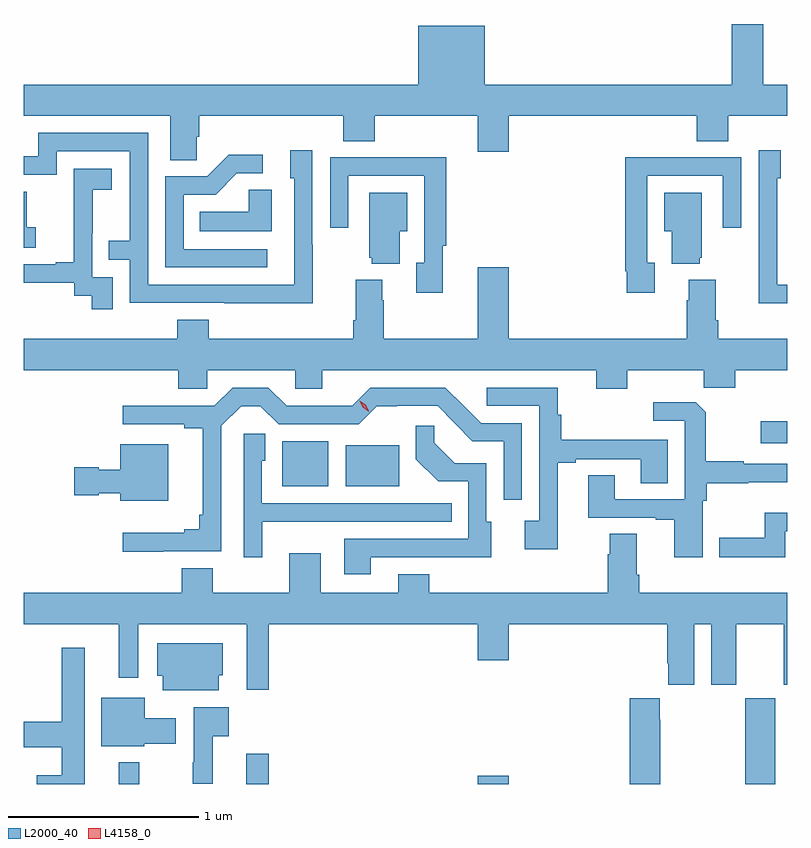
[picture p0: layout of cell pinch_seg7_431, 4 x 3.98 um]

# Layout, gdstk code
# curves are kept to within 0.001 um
import gdstk
lib = gdstk.Library(unit=1e-6, precision=1e-09)
def R(c, l, rs):  # rectangles x0, y0, x1, y1
    for r in rs: c.add(gdstk.rectangle(r[:2], r[2:], *l))
def P(c, l, *ps):  # polygons
    for p in ps: c.add(gdstk.Polygon(p, *l))
L2000_40 = (2000, 40)
L4158_0 = (4158, 0)

pinch_seg7_431 = lib.new_cell('pinch_seg7_431')
R(pinch_seg7_431, L2000_40, [(283.007,1066.379,283.114,1066.492), (283.676,1066.379,283.793,1066.537), (284.888,1066.379,285.052,1066.423), (286.291,1066.379,286.446,1066.828), (283.865,1067.939,284.104,1068.175), (284.198,1067.939,284.476,1068.154), (286.371,1068.165,286.51,1068.28)])
P(pinch_seg7_431, L2000_40, [(283.416,1069.771),(283.43,1069.771),(283.43,1069.88),(284.183,1069.88),(284.183,1069.747),(284.348,1069.747),(284.348,1069.88),(284.888,1069.88),(284.888,1069.692),(285.052,1069.692),(285.052,1069.88),(286.037,1069.88),(286.037,1069.747),(286.202,1069.747),(286.202,1069.88),(286.51,1069.88),(286.51,1070.044),(286.384,1070.044),(286.384,1070.361),(286.22,1070.361),(286.22,1070.044),(284.926,1070.044),(284.926,1070.353),(284.576,1070.353),(284.576,1070.044),(282.51,1070.044),(282.51,1069.88),(283.277,1069.88),(283.277,1069.648),(283.416,1069.648)],
  [(284.025,1069.205),(284.022,1069.205),(284.022,1069.699),(283.907,1069.699),(283.907,1069.554),(283.926,1069.554),(283.926,1068.996),(283.161,1068.996),(283.161,1069.791),(282.587,1069.791),(282.587,1069.668),(282.51,1069.668),(282.51,1069.572),(282.684,1069.572),(282.684,1069.695),(283.065,1069.695),(283.065,1069.226),(282.955,1069.226),(282.955,1069.125),(283.065,1069.125),(283.065,1068.9),(283.561,1068.9),(283.561,1068.899),(284.025,1068.899)],
  [(286.51,1068.996),(286.459,1068.996),(286.459,1069.22),(286.458,1069.22),(286.458,1069.554),(286.477,1069.554),(286.477,1069.699),(286.362,1069.699),(286.362,1069.205),(286.36,1069.205),(286.36,1068.899),(286.51,1068.899)],
  [(283.786,1069.182),(283.347,1069.182),(283.347,1069.467),(283.516,1069.467),(283.627,1069.578),(283.762,1069.578),(283.762,1069.676),(283.583,1069.676),(283.47,1069.563),(283.251,1069.563),(283.251,1069.086),(283.786,1069.086)],
  [(285.817,1069.11),(285.777,1069.11),(285.777,1069.566),(286.173,1069.566),(286.173,1069.293),(286.269,1069.293),(286.269,1069.662),(285.953,1069.662),(285.953,1069.664),(285.661,1069.664),(285.661,1069.066),(285.669,1069.066),(285.669,1068.954),(285.817,1068.954)],
  [(284.705,1069.198),(284.723,1069.198),(284.723,1069.664),(284.431,1069.664),(284.431,1069.662),(284.115,1069.662),(284.115,1069.293),(284.211,1069.293),(284.211,1069.566),(284.607,1069.566),(284.607,1069.11),(284.567,1069.11),(284.567,1068.954),(284.705,1068.954)],
  [(282.975,1069.035),(282.87,1069.035),(282.87,1069.265),(282.872,1069.265),(282.872,1069.493),(282.97,1069.493),(282.97,1069.603),(282.772,1069.603),(282.772,1069.397),(282.773,1069.397),(282.773,1069.114),(282.677,1069.114),(282.677,1069.101),(282.51,1069.101),(282.51,1069.005),(282.774,1069.005),(282.774,1068.937),(282.867,1068.937),(282.867,1068.867),(282.975,1068.867)],
  [(283.81,1069.493),(283.689,1069.493),(283.689,1069.378),(283.432,1069.378),(283.432,1069.274),(283.81,1069.274)],
  [(282.574,1069.297),(282.525,1069.297),(282.525,1069.482),(282.51,1069.482),(282.51,1069.188),(282.574,1069.188)],
  [(286.052,1069.137),(286.063,1069.137),(286.063,1069.477),(285.866,1069.477),(285.866,1069.274),(285.905,1069.274),(285.905,1069.106),(286.052,1069.106)],
  [(284.479,1069.274),(284.518,1069.274),(284.518,1069.477),(284.321,1069.477),(284.321,1069.137),(284.333,1069.137),(284.333,1069.106),(284.479,1069.106)],
  [(284.888,1069.087),(284.888,1068.712),(284.397,1068.712),(284.397,1068.914),(284.389,1068.914),(284.389,1069.021),(284.249,1069.021),(284.249,1068.808),(284.237,1068.808),(284.237,1068.712),(283.478,1068.712),(283.478,1068.811),(283.313,1068.811),(283.313,1068.712),(282.51,1068.712),(282.51,1068.548),(283.319,1068.548),(283.319,1068.45),(283.47,1068.45),(283.47,1068.548),(283.932,1068.548),(283.932,1068.45),(284.074,1068.45),(284.074,1068.548),(285.509,1068.548),(285.509,1068.449),(285.673,1068.449),(285.673,1068.548),(286.073,1068.548),(286.073,1068.455),(286.237,1068.455),(286.237,1068.548),(286.51,1068.548),(286.51,1068.712),(286.148,1068.712),(286.148,1068.808),(286.135,1068.808),(286.135,1069.021),(285.995,1069.021),(285.995,1068.914),(285.983,1068.914),(285.983,1068.712),(285.052,1068.712),(285.052,1069.087)],
  [(285.307,1068.061),(285.403,1068.061),(285.403,1068.081),(285.743,1068.081),(285.743,1067.956),(285.883,1067.956),(285.883,1068.182),(285.326,1068.182),(285.326,1068.314),(285.308,1068.314),(285.308,1068.456),(284.937,1068.456),(284.937,1068.36),(285.21,1068.36),(285.21,1067.758),(285.135,1067.758),(285.135,1067.61),(285.307,1067.61)],
  [(283.241,1067.598),(283.545,1067.598),(283.545,1068.255),(283.649,1068.359),(283.75,1068.359),(283.845,1068.264),(284.265,1068.264),(284.36,1068.359),(284.679,1068.36),(284.769,1068.27),(284.767,1068.268),(284.861,1068.174),(285.024,1068.174),(285.024,1067.868),(285.12,1067.868),(285.12,1068.27),(284.907,1068.27),(284.719,1068.456),(284.325,1068.456),(284.231,1068.362),(284.126,1068.362),(284.126,1068.36),(283.887,1068.36),(283.791,1068.456),(283.604,1068.456),(283.508,1068.36),(283.275,1068.36),(283.275,1068.362),(283.029,1068.362),(283.029,1068.264),(283.352,1068.264),(283.352,1068.244),(283.448,1068.244),(283.448,1067.791),(283.429,1067.791),(283.429,1067.714),(283.352,1067.714),(283.352,1067.695),(283.029,1067.695),(283.029,1067.597)],
  [(286.068,1067.864),(286.088,1067.864),(286.088,1067.956),(286.307,1067.956),(286.307,1067.96),(286.51,1067.96),(286.51,1068.057),(286.283,1068.057),(286.283,1068.07),(286.083,1068.07),(286.083,1068.327),(286.031,1068.379),(285.807,1068.379),(285.807,1068.282),(285.972,1068.282),(285.972,1067.871),(285.607,1067.871),(285.607,1067.996),(285.467,1067.996),(285.467,1067.775),(285.821,1067.775),(285.821,1067.763),(285.917,1067.763),(285.917,1067.568),(286.068,1067.568)],
  [(284.329,1067.568),(284.959,1067.567),(284.959,1067.754),(284.934,1067.754),(284.934,1068.06),(284.768,1068.06),(284.66,1068.168),(284.66,1068.256),(284.565,1068.256),(284.565,1068.08),(284.681,1067.964),(284.838,1067.964),(284.838,1067.664),(284.189,1067.664),(284.189,1067.478),(284.329,1067.478)],
  [(283.759,1067.753),(284.093,1067.753),(284.093,1067.754),(284.753,1067.754),(284.753,1067.85),(283.758,1067.85),(283.758,1068.072),(283.774,1068.072),(283.774,1068.215),(283.662,1068.215),(283.662,1067.568),(283.759,1067.568)],
  [(283.267,1068.16),(283.016,1068.16),(283.016,1068.025),(282.903,1068.025),(282.903,1068.038),(282.774,1068.038),(282.774,1067.891),(282.903,1067.891),(282.903,1067.903),(283.016,1067.903),(283.016,1067.864),(283.267,1067.864)],
  [(286.5,1067.703),(286.51,1067.703),(286.51,1067.8),(286.392,1067.8),(286.392,1067.669),(286.155,1067.669),(286.155,1067.567),(286.5,1067.567)],
  [(283.793,1067.216),(284.888,1067.216),(284.888,1067.028),(285.052,1067.028),(285.052,1067.216),(285.881,1067.216),(285.881,1067.011),(285.887,1067.011),(285.887,1066.899),(286.024,1066.899),(286.024,1067.216),(286.112,1067.216),(286.112,1066.899),(286.243,1066.899),(286.243,1067.216),(286.493,1067.216),(286.493,1066.899),(286.51,1066.899),(286.51,1067.38),(285.734,1067.38),(285.734,1067.476),(285.721,1067.476),(285.721,1067.69),(285.581,1067.69),(285.581,1067.582),(285.569,1067.582),(285.569,1067.38),(284.635,1067.38),(284.635,1067.479),(284.471,1067.479),(284.471,1067.38),(284.065,1067.38),(284.065,1067.587),(283.901,1067.587),(283.901,1067.38),(283.501,1067.38),(283.501,1067.509),(283.337,1067.509),(283.337,1067.38),(282.51,1067.38),(282.51,1067.216),(283.007,1067.216),(283.007,1066.935),(283.111,1066.935),(283.111,1067.216),(283.677,1067.216),(283.677,1066.872),(283.793,1066.872)],
  [(283.531,1066.95),(283.552,1066.95),(283.552,1067.116),(283.208,1067.116),(283.208,1066.946),(283.238,1066.946),(283.238,1066.871),(283.531,1066.871)],
  [(282.829,1067.092),(282.708,1067.092),(282.708,1066.706),(282.51,1066.706),(282.51,1066.571),(282.708,1066.571),(282.708,1066.426),(282.578,1066.426),(282.578,1066.379),(282.829,1066.379)],
  [(283.14,1066.589),(283.306,1066.589),(283.306,1066.723),(283.144,1066.723),(283.144,1066.831),(282.917,1066.831),(282.917,1066.577),(283.14,1066.577)],
  [(285.846,1066.715),(285.841,1066.715),(285.841,1066.828),(285.686,1066.828),(285.686,1066.379),(285.846,1066.379)],
  [(283.499,1066.628),(283.585,1066.628),(283.585,1066.78),(283.401,1066.78),(283.401,1066.492),(283.396,1066.492),(283.396,1066.38),(283.499,1066.38)])
P(pinch_seg7_431, L4158_0, [(284.316,1068.332),(284.286,1068.353),(284.27,1068.387),(284.27,1068.387),(284.27,1068.387),(284.301,1068.366),(284.317,1068.332),(284.317,1068.332)])

lib.write_gds('pinch_seg7_431.gds')
